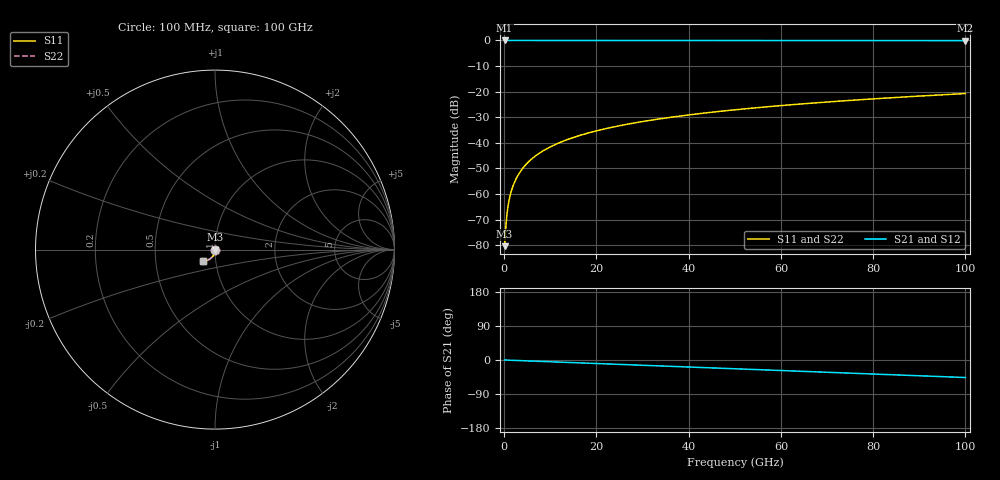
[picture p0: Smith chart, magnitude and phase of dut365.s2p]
! Touchstone file exported from HFSS 2026.1.0
!  File:  C:/ffzhzh/LocalFiles/Ansys_Project_Files/temp_train_TSV_365_1783510259_55944.aedt
!  Generated:  07:32:15 PM Jul  8, 2026
!  Design:  TSV
!  Project:  temp_train_TSV_365_1783510259_55944
! Variables:
!  h_bsmrdl = 2um
!  h_ox = 20um
!  h_rdl = 5um
!  h_sub = 93.46um
!  h_tmrdl = 5um
!  h_tsv = 93.46um
!  h_via = 3um
!  l_bsmrdl = 300um
!  l_sub = 427.92um
!  l_tmrdl = 200um
!  m_sub = 200um
!  pitch = 50.4um
!  r_tsv = 13.96um
!  s_tmrdl = 10um
!  w_bsmrdl = 18um
!  w_sub = 500um
!  w_tmrdl = 12um
!  x_tsv_center1 = 206um
!  x_tsv_center2 = 524um
!  x_tsv_center3 = 736um
!  x_tsv_center4 = 1054um
!  x_tsv_center5 = 1266um
!  x_tsv_center6 = 1584um
# GHz S MA R 50.000000
! Terminal data exported
! Port[1] = TSV1_1_T1
! Port[2] = TSV1_1_T2
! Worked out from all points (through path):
!   1000 points, 100 MHz to 100 GHz, reference 50 ohm
!   highest |S21| = 0.00 dB at 100 MHz (marker M1); lowest = -0.1 dB at 100 GHz (marker M2)
!   group delay of S21, straight-line fit = 1.28 ps
!   lowest |S11| = -80.3 dB at 100 MHz (marker M3), VSWR 1.00, Z = 50 - j0.00381 ohm
!   |S11| at or under -10 dB: start of sweep to end of sweep
!   |S22| runs from -80.3 to -20.7 dB; largest |S21 - S12| = 3.5e-15
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0.1  9.625e-05 -23.3  0.9999 -0.0  0.9999 -0.0  9.625e-05 -23.3
! Gamma 0 0 0 0
! Port Impedance 50 0 50 0
0.4  0.0002508 -51.9  0.9998 -0.2  0.9998 -0.2  0.0002508 -51.9
0.7  0.0004702 -62.4  0.9998 -0.3  0.9998 -0.3  0.0004702 -62.4
0.9  0.0006253 -66.7  0.9997 -0.4  0.9997 -0.4  0.0006253 -66.7
1.2  0.0008615 -71.0  0.9997 -0.6  0.9997 -0.6  0.0008615 -71.0
1.5  0.0011 -73.9  0.9997 -0.7  0.9997 -0.7  0.0011 -73.9
2  0.001502 -76.9  0.9996 -0.9  0.9996 -0.9  0.001502 -76.9
2.5  0.001911 -78.8  0.9996 -1.2  0.9996 -1.2  0.001911 -78.8
3.1  0.00241 -80.5  0.9995 -1.4  0.9995 -1.4  0.00241 -80.5
3.9  0.003084 -82.2  0.9995 -1.8  0.9995 -1.8  0.003084 -82.2
4.9  0.003936 -83.8  0.9994 -2.3  0.9994 -2.3  0.003936 -83.8
6  0.004881 -85.3  0.9993 -2.8  0.9993 -2.8  0.004881 -85.3
8.8  0.007304 -88.0  0.9992 -4.1  0.9992 -4.1  0.007304 -88.0
12.4  0.01046 -90.6  0.999 -5.7  0.999 -5.7  0.01046 -90.6
16.8  0.01434 -93.4  0.9988 -7.8  0.9988 -7.8  0.01434 -93.4
24.1  0.02082 -97.6  0.9985 -11.1  0.9985 -11.1  0.02082 -97.6
33.4  0.02916 -102.4  0.998 -15.4  0.998 -15.4  0.02916 -102.4
41.2  0.03621 -106.4  0.9976 -19.0  0.9976 -19.0  0.03621 -106.4
50.1  0.04434 -110.8  0.9971 -23.1  0.9971 -23.1  0.04434 -110.8
66.7  0.05972 -118.9  0.9959 -30.8  0.9959 -30.8  0.05972 -118.8
83.4  0.0756 -126.9  0.9944 -38.5  0.9944 -38.5  0.0756 -126.9
100  0.09189 -135.0  0.9925 -46.3  0.9925 -46.3  0.09189 -135.0
